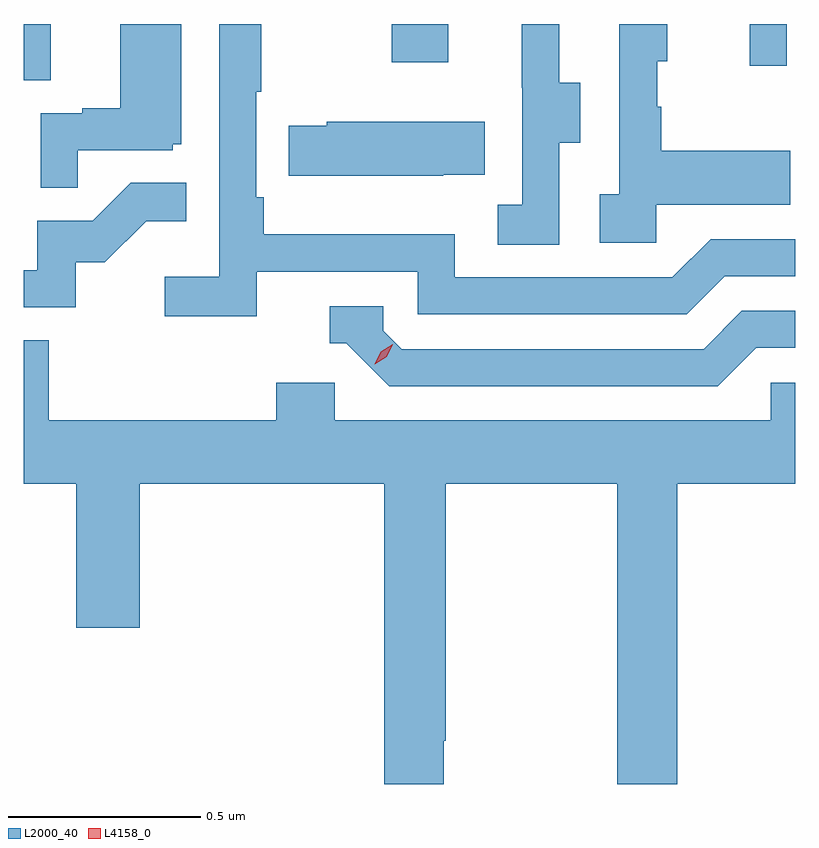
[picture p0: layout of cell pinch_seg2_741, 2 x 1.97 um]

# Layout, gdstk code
import gdstk
lib = gdstk.Library(unit=1e-6, precision=1e-09)
def R(c, l, rs):  # rectangles x0, y0, x1, y1
    for r in rs: c.add(gdstk.rectangle(r[:2], r[2:], *l))
def P(c, l, *ps):  # polygons
    for p in ps: c.add(gdstk.Polygon(p, *l))
L2000_40 = (2000, 40)
L4158_0 = (4158, 0)

pinch_seg2_741 = lib.new_cell('pinch_seg2_741')
R(pinch_seg2_741, L2000_40, [(1111.924,603.394,1111.993,603.54), (1113.806,603.432,1113.903,603.54), (1112.878,603.441,1113.025,603.54)])
P(pinch_seg2_741, L2000_40, [(1113.564,603.071),(1113.911,603.071),(1113.911,603.211),(1113.577,603.211),(1113.577,603.326),(1113.567,603.326),(1113.567,603.444),(1113.592,603.444),(1113.592,603.54),(1113.468,603.54),(1113.468,603.098),(1113.417,603.098),(1113.417,602.973),(1113.564,602.973)],
  [(1113.312,603.232),(1113.367,603.232),(1113.367,603.387),(1113.313,603.387),(1113.313,603.54),(1113.215,603.54),(1113.215,603.375),(1113.216,603.375),(1113.216,603.071),(1113.153,603.071),(1113.153,602.968),(1113.312,602.968)],
  [(1112.528,602.898),(1112.946,602.898),(1112.946,602.787),(1113.643,602.787),(1113.742,602.886),(1113.924,602.886),(1113.924,602.982),(1113.705,602.982),(1113.606,602.883),(1113.042,602.883),(1113.042,602.995),(1112.546,602.995),(1112.546,603.091),(1112.526,603.091),(1112.526,603.364),(1112.539,603.364),(1112.539,603.54),(1112.43,603.54),(1112.43,602.884),(1112.289,602.884),(1112.289,602.782),(1112.528,602.782)],
  [(1112.063,603.213),(1112.31,603.213),(1112.31,603.228),(1112.332,603.228),(1112.332,603.54),(1112.174,603.54),(1112.174,603.322),(1112.075,603.322),(1112.075,603.309),(1111.968,603.309),(1111.968,603.115),(1112.063,603.115)],
  [(1113.011,603.149),(1113.119,603.149),(1113.119,603.286),(1112.709,603.286),(1112.709,603.276),(1112.611,603.276),(1112.611,603.146),(1113.011,603.146)],
  [(1112.058,602.922),(1112.134,602.922),(1112.241,603.029),(1112.345,603.029),(1112.345,603.128),(1112.201,603.128),(1112.103,603.03),(1111.959,603.03),(1111.959,602.901),(1111.924,602.901),(1111.924,602.805),(1112.058,602.805)],
  [(1113.823,602.7),(1113.924,602.7),(1113.924,602.796),(1113.786,602.796),(1113.687,602.697),(1112.904,602.697),(1112.856,602.745),(1112.856,602.808),(1112.717,602.808),(1112.717,602.712),(1112.76,602.712),(1112.871,602.601),(1113.724,602.601)],
  [(1113.013,601.681),(1113.018,601.681),(1113.018,602.348),(1113.463,602.348),(1113.463,601.569),(1113.618,601.569),(1113.618,602.348),(1113.924,602.348),(1113.924,602.61),(1113.861,602.61),(1113.861,602.512),(1112.73,602.512),(1112.73,602.61),(1112.579,602.61),(1112.579,602.512),(1111.988,602.512),(1111.988,602.72),(1111.924,602.72),(1111.924,602.348),(1112.06,602.348),(1112.06,601.974),(1112.224,601.974),(1112.224,602.348),(1112.858,602.348),(1112.858,601.569),(1113.013,601.569)])
P(pinch_seg2_741, L4158_0, [(1112.834,602.658),(1112.834,602.658),(1112.85,602.69),(1112.881,602.71),(1112.881,602.71),(1112.881,602.71),(1112.865,602.677),(1112.834,602.658)])

lib.write_gds('pinch_seg2_741.gds')
